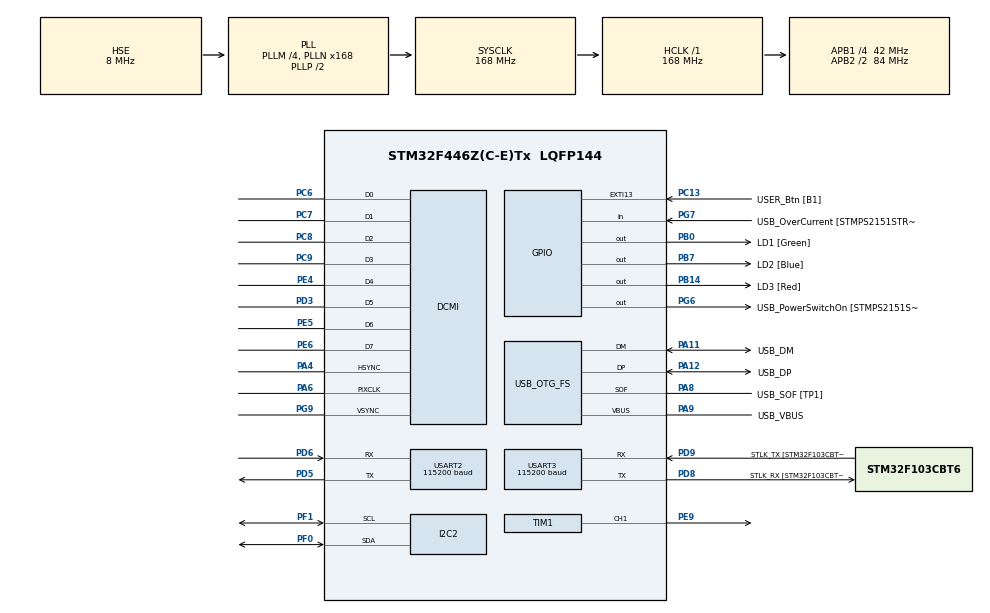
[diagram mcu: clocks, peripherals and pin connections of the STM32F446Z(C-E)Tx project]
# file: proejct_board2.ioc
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DCMI.CaptureRate=DCMI_CR_ALL_FRAME
DCMI.PCKPolarity=DCMI_PCKPOLARITY_RISING
DCMI.VSPolarity=DCMI_VSPOLARITY_HIGH
Dma.DCMI.0.Direction=DMA_PERIPH_TO_MEMORY
Dma.DCMI.0.FIFOMode=DMA_FIFOMODE_ENABLE
Dma.DCMI.0.FIFOThreshold=DMA_FIFO_THRESHOLD_FULL
Dma.DCMI.0.Instance=DMA2_Stream1
Dma.DCMI.0.MemBurst=DMA_MBURST_SINGLE
Dma.DCMI.0.MemDataAlignment=DMA_MDATAALIGN_WORD
Dma.DCMI.0.MemInc=DMA_MINC_ENABLE
Dma.DCMI.0.Mode=DMA_CIRCULAR
Dma.DCMI.0.PeriphBurst=DMA_PBURST_SINGLE
Dma.DCMI.0.PeriphDataAlignment=DMA_PDATAALIGN_WORD
Dma.DCMI.0.PeriphInc=DMA_PINC_DISABLE
Dma.DCMI.0.Priority=DMA_PRIORITY_VERY_HIGH
Dma.Request0=DCMI
Dma.Request1=USART3_TX
Dma.Request2=USART2_TX
Dma.USART2_TX.2.Direction=DMA_MEMORY_TO_PERIPH
Dma.USART2_TX.2.FIFOMode=DMA_FIFOMODE_DISABLE
Dma.USART2_TX.2.Instance=DMA1_Stream6
Dma.USART2_TX.2.MemDataAlignment=DMA_MDATAALIGN_BYTE
Dma.USART2_TX.2.MemInc=DMA_MINC_ENABLE
Dma.USART2_TX.2.Mode=DMA_NORMAL
Dma.USART2_TX.2.PeriphDataAlignment=DMA_PDATAALIGN_BYTE
Dma.USART2_TX.2.PeriphInc=DMA_PINC_DISABLE
Dma.USART2_TX.2.Priority=DMA_PRIORITY_VERY_HIGH
Dma.USART3_TX.1.Direction=DMA_MEMORY_TO_PERIPH
Dma.USART3_TX.1.FIFOMode=DMA_FIFOMODE_ENABLE
Dma.USART3_TX.1.FIFOThreshold=DMA_FIFO_THRESHOLD_FULL
Dma.USART3_TX.1.Instance=DMA1_Stream3
Dma.USART3_TX.1.MemBurst=DMA_MBURST_SINGLE
Dma.USART3_TX.1.MemDataAlignment=DMA_MDATAALIGN_BYTE
Dma.USART3_TX.1.MemInc=DMA_MINC_ENABLE
Dma.USART3_TX.1.Mode=DMA_NORMAL
Dma.USART3_TX.1.PeriphBurst=DMA_PBURST_SINGLE
Dma.USART3_TX.1.PeriphDataAlignment=DMA_PDATAALIGN_BYTE
Dma.USART3_TX.1.PeriphInc=DMA_PINC_DISABLE
Dma.USART3_TX.1.Priority=DMA_PRIORITY_MEDIUM
Mcu.Family=STM32F4
Mcu.Name=STM32F446Z(C-E)Tx
Mcu.Package=LQFP144
NVIC.DCMI_IRQn=true\:0\:0\:false\:false\:true\:true\:true\:true
NVIC.DMA1_Stream3_IRQn=true\:0\:0\:false\:false\:true\:false\:true\:true
NVIC.DMA1_Stream6_IRQn=true\:0\:0\:false\:false\:true\:false\:true\:true
NVIC.DMA2_Stream1_IRQn=true\:0\:0\:false\:false\:true\:false\:true\:true
NVIC.EXTI15_10_IRQn=true\:0\:0\:false\:false\:true\:true\:true\:true
NVIC.PriorityGroup=NVIC_PRIORITYGROUP_4
NVIC.TIM6_DAC_IRQn=true\:0\:0\:false\:false\:true\:true\:true\:true
NVIC.USART3_IRQn=true\:0\:0\:false\:false\:true\:true\:true\:true
PA10.GPIO_Label=USB_ID
PA10.Signal=USB_OTG_FS_ID
PA11.GPIO_Label=USB_DM
PA11.Mode=Device_Only
PA11.Signal=USB_OTG_FS_DM
PA12.GPIO_Label=USB_DP
PA12.Mode=Device_Only
PA12.Signal=USB_OTG_FS_DP
PA13.GPIO_Label=TMS
PA13.Mode=Serial_Wire
PA13.Signal=SYS_JTMS-SWDIO
PA14.GPIO_Label=TCK
PA14.Mode=Serial_Wire
PA14.Signal=SYS_JTCK-SWCLK
PA4.Mode=Slave_8_bits_External_Synchro
PA4.Signal=DCMI_HSYNC
PA6.Mode=Slave_8_bits_External_Synchro
PA6.Signal=DCMI_PIXCLK
PA8.GPIO_Label=USB_SOF [TP1]
PA8.Mode=Activate_SOF_FS
PA8.Signal=USB_OTG_FS_SOF
PA9.GPIO_Label=USB_VBUS
PA9.Mode=Activate_VBUS
PA9.Signal=USB_OTG_FS_VBUS
PB0.GPIO_Label=LD1 [Green]
PB0.Signal=GPIO_Output
PB14.GPIO_Label=LD3 [Red]
PB14.Signal=GPIO_Output
PB7.GPIO_Label=LD2 [Blue]
PB7.Signal=GPIO_Output
PC13.GPIO_Label=USER_Btn [B1]
PC13.Signal=GPXTI13
PC14-OSC32_IN.Mode=LSE-External-Oscillator
PC14-OSC32_IN.Signal=RCC_OSC32_IN
PC15-OSC32_OUT.Mode=LSE-External-Oscillator
PC15-OSC32_OUT.Signal=RCC_OSC32_OUT
PC6.Mode=Slave_8_bits_External_Synchro
PC6.Signal=DCMI_D0
PC7.Mode=Slave_8_bits_External_Synchro
PC7.Signal=DCMI_D1
PC8.Mode=Slave_8_bits_External_Synchro
PC8.Signal=DCMI_D2
PC9.Mode=Slave_8_bits_External_Synchro
PC9.Signal=DCMI_D3
PD3.Mode=Slave_8_bits_External_Synchro
PD3.Signal=DCMI_D5
PD5.Mode=Asynchronous
PD5.Signal=USART2_TX
PD6.Mode=Asynchronous
PD6.Signal=USART2_RX
PD8.GPIO_Label=STLK_RX [STM32F103CBT6_PA3]
PD8.Mode=Asynchronous
PD8.Signal=USART3_TX
PD9.GPIO_Label=STLK_TX [STM32F103CBT6_PA2]
PD9.Mode=Asynchronous
PD9.Signal=USART3_RX
PE4.Mode=Slave_8_bits_External_Synchro
PE4.Signal=DCMI_D4
PE5.Mode=Slave_8_bits_External_Synchro
PE5.Signal=DCMI_D6
PE6.Mode=Slave_8_bits_External_Synchro
PE6.Signal=DCMI_D7
PE9.Signal=S_TIM1_CH1
PF0.Mode=I2C
PF0.Signal=I2C2_SDA
PF1.Mode=I2C
PF1.Signal=I2C2_SCL
PG6.GPIO_Label=USB_PowerSwitchOn [STMPS2151STR_EN]
PG6.Signal=GPIO_Output
PG7.GPIO_Label=USB_OverCurrent [STMPS2151STR_FAULT]
PG7.Signal=GPIO_Input
PG9.Mode=Slave_8_bits_External_Synchro
PG9.Signal=DCMI_VSYNC
PH0-OSC_IN.GPIO_Label=MCO [STM32F103CBT6_PA8]
PH0-OSC_IN.Mode=HSE-External-Clock-Source
PH0-OSC_IN.Signal=RCC_OSC_IN
PH1-OSC_OUT.Mode=HSE-External-Clock-Source
PH1-OSC_OUT.Signal=RCC_OSC_OUT
ProjectManager.HeapSize=0x200
ProjectManager.StackSize=0x400
ProjectManager.TargetToolchain=STM32CubeIDE
RCC.48MHZClocksFreq_Value=24000000
RCC.AHBFreq_Value=168000000
RCC.APB1CLKDivider=RCC_HCLK_DIV4
RCC.APB1Freq_Value=42000000
RCC.APB1TimFreq_Value=84000000
RCC.APB2CLKDivider=RCC_HCLK_DIV2
RCC.APB2Freq_Value=84000000
RCC.APB2TimFreq_Value=168000000
RCC.CortexFreq_Value=168000000
RCC.HCLKFreq_Value=168000000
RCC.HSE_VALUE=8000000
RCC.HSI_VALUE=16000000
RCC.PLLM=4
RCC.PLLMUL=RCC_PLL_MUL9
RCC.PLLN=168
RCC.PLLQ=7
RCC.PRESCALERUSB=RCC_USBCLKSOURCE_PLL_DIV1_5
RCC.SYSCLKFreq_VALUE=168000000
RCC.SYSCLKSource=RCC_SYSCLKSOURCE_PLLCLK
RCC.SYSCLKSourceVirtual=RCC_SYSCLKSOURCE_PLLCLK
RCC.USBFreq_Value=48000000
RCC.VCOOutputFreq_Value=336000000
SH.S_TIM1_CH1.0=TIM1_CH1,PWM Generation1 CH1
TIM1.AutoReloadPreload=TIM_AUTORELOAD_PRELOAD_ENABLE
TIM1.Channel-PWM\ Generation1\ CH1=TIM_CHANNEL_1
TIM1.Period=20
TIM1.Pulse-PWM\ Generation1\ CH1=10
USART2.BaudRate=115200
USART2.VirtualMode=VM_ASYNC
USART3.BaudRate=115200
USART3.Mode=MODE_TX_RX
USART3.VirtualMode=VM_ASYNC
USB_OTG_FS.VirtualMode=Device_Only
VP_TIM6_VS_ClockSourceINT.Mode=Enable_Timer
board=NUCLEO-F446ZE

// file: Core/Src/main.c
/* USER CODE BEGIN Header */
/**
  ******************************************************************************
  * @file           : main.c
  * @brief          : Main program body
  ******************************************************************************
  * @attention
  *
  * Copyright (c) 2024 STMicroelectronics.
  * All rights reserved.
  *
  * This software is licensed under terms that can be found in the LICENSE file
  * in the root directory of this software component.
  * If no LICENSE file comes with this software, it is provided AS-IS.
  *
  ******************************************************************************
  */
/* USER CODE END Header */
#include "main.h"

/* USER CODE BEGIN Includes */
#include "ov7670.h"
/* USER CODE END Includes */

/* USER CODE BEGIN PD */
#define PREAMBLE "\r\n!START!\r\n"
#define DELTA_PREAMBLE "\r\n!DELTA!\r\n"
#define SUFFIX "!END!\r\n"
/* USER CODE END PD */

DCMI_HandleTypeDef hdcmi;
DMA_HandleTypeDef hdma_dcmi;

I2C_HandleTypeDef hi2c2;

TIM_HandleTypeDef htim1;
TIM_HandleTypeDef htim6;

UART_HandleTypeDef huart2;
UART_HandleTypeDef huart3;
DMA_HandleTypeDef hdma_usart2_tx;
DMA_HandleTypeDef hdma_usart3_tx;

PCD_HandleTypeDef hpcd_USB_OTG_FS;

/* USER CODE BEGIN PV */
uint8_t raw_buff[2 * IMG_ROWS * IMG_COLS];
uint8_t intermediate_buff[IMG_ROWS][IMG_COLS];
uint8_t previous_buff[IMG_ROWS][IMG_COLS];
uint8_t video_buff[sizeof(PREAMBLE) + IMG_ROWS * IMG_COLS + sizeof(SUFFIX)];

uint8_t dma_flag = 0;
uint8_t button_flag = 0;
uint8_t transfer_complete_flag = 0;
/* USER CODE END PV */

void SystemClock_Config(void);
static void MX_GPIO_Init(void);
static void MX_DMA_Init(void);
static void MX_DCMI_Init(void);
static void MX_USART3_UART_Init(void);
static void MX_USB_OTG_FS_PCD_Init(void);
static void MX_I2C2_Init(void);
static void MX_TIM1_Init(void);
static void MX_TIM6_Init(void);
static void MX_USART2_UART_Init(void);
/* USER CODE BEGIN PFP */
void extraTruncatedVideoMode();

uint8_t findNumberOfRepeatedPixels(uint8_t startRow, uint8_t startCol);
void transferRawBufferToIntermediate();
int rle(int bufferIndex);
/* USER CODE END PFP */

int main(void)
{

  /* MCU Configuration--------------------------------------------------------*/

  /* Reset of all peripherals, Initializes the Flash interface and the Systick. */
  HAL_Init();

  /* Configure the system clock */
  SystemClock_Config();

  /* Initialize all configured peripherals */
  MX_GPIO_Init();
  MX_DMA_Init();
  MX_DCMI_Init();
  MX_USART3_UART_Init();
  MX_USB_OTG_FS_PCD_Init();
  MX_I2C2_Init();
  MX_TIM1_Init();
  MX_TIM6_Init();
  MX_USART2_UART_Init();
  /* USER CODE BEGIN 2 */
  HAL_TIM_PWM_Start(&htim1, TIM_CHANNEL_1);
  ov7670_init();

  extraTruncatedVideoMode();
  /* USER CODE END 2 */

  /* Infinite loop */
  while (1)
  {

  }
}

void SystemClock_Config(void)
{
  RCC_OscInitTypeDef RCC_OscInitStruct = {0};
  RCC_ClkInitTypeDef RCC_ClkInitStruct = {0};

  /** Configure the main internal regulator output voltage
  */
  __HAL_RCC_PWR_CLK_ENABLE();
  __HAL_PWR_VOLTAGESCALING_CONFIG(PWR_REGULATOR_VOLTAGE_SCALE1);

  /** Initializes the RCC Oscillators according to the specified parameters
  * in the RCC_OscInitTypeDef structure.
  */
  RCC_OscInitStruct.OscillatorType = RCC_OSCILLATORTYPE_HSE;
  RCC_OscInitStruct.HSEState = RCC_HSE_BYPASS;
  RCC_OscInitStruct.PLL.PLLState = RCC_PLL_ON;
  RCC_OscInitStruct.PLL.PLLSource = RCC_PLLSOURCE_HSE;
  RCC_OscInitStruct.PLL.PLLM = 4;
  RCC_OscInitStruct.PLL.PLLN = 168;
  RCC_OscInitStruct.PLL.PLLP = RCC_PLLP_DIV2;
  RCC_OscInitStruct.PLL.PLLQ = 7;
  RCC_OscInitStruct.PLL.PLLR = 2;
  if (HAL_RCC_OscConfig(&RCC_OscInitStruct) != HAL_OK)
  {
    Error_Handler();
  }

  /** Initializes the CPU, AHB and APB buses clocks
  */
  RCC_ClkInitStruct.ClockType = RCC_CLOCKTYPE_HCLK|RCC_CLOCKTYPE_SYSCLK
                              |RCC_CLOCKTYPE_PCLK1|RCC_CLOCKTYPE_PCLK2;
  RCC_ClkInitStruct.SYSCLKSource = RCC_SYSCLKSOURCE_PLLCLK;
  RCC_ClkInitStruct.AHBCLKDivider = RCC_SYSCLK_DIV1;
  RCC_ClkInitStruct.APB1CLKDivider = RCC_HCLK_DIV4;
  RCC_ClkInitStruct.APB2CLKDivider = RCC_HCLK_DIV2;

  if (HAL_RCC_ClockConfig(&RCC_ClkInitStruct, FLASH_LATENCY_5) != HAL_OK)
  {
    Error_Handler();
  }
}

static void MX_DCMI_Init(void)
{

  hdcmi.Instance = DCMI;
  hdcmi.Init.SynchroMode = DCMI_SYNCHRO_HARDWARE;
  hdcmi.Init.PCKPolarity = DCMI_PCKPOLARITY_RISING;
  hdcmi.Init.VSPolarity = DCMI_VSPOLARITY_HIGH;
  hdcmi.Init.HSPolarity = DCMI_HSPOLARITY_LOW;
  hdcmi.Init.CaptureRate = DCMI_CR_ALL_FRAME;
  hdcmi.Init.ExtendedDataMode = DCMI_EXTEND_DATA_8B;
  hdcmi.Init.JPEGMode = DCMI_JPEG_DISABLE;
  hdcmi.Init.ByteSelectMode = DCMI_BSM_ALL;
  hdcmi.Init.ByteSelectStart = DCMI_OEBS_ODD;
  hdcmi.Init.LineSelectMode = DCMI_LSM_ALL;
  hdcmi.Init.LineSelectStart = DCMI_OELS_ODD;
  if (HAL_DCMI_Init(&hdcmi) != HAL_OK)
  {
    Error_Handler();
  }

}

static void MX_I2C2_Init(void)
{

  hi2c2.Instance = I2C2;
  hi2c2.Init.ClockSpeed = 100000;
  hi2c2.Init.DutyCycle = I2C_DUTYCYCLE_2;
  hi2c2.Init.OwnAddress1 = 0;
  hi2c2.Init.AddressingMode = I2C_ADDRESSINGMODE_7BIT;
  hi2c2.Init.DualAddressMode = I2C_DUALADDRESS_DISABLE;
  hi2c2.Init.OwnAddress2 = 0;
  hi2c2.Init.GeneralCallMode = I2C_GENERALCALL_DISABLE;
  hi2c2.Init.NoStretchMode = I2C_NOSTRETCH_DISABLE;
  if (HAL_I2C_Init(&hi2c2) != HAL_OK)
  {
    Error_Handler();
  }

}

static void MX_TIM1_Init(void)
{

  TIM_MasterConfigTypeDef sMasterConfig = {0};
  TIM_OC_InitTypeDef sConfigOC = {0};
  TIM_BreakDeadTimeConfigTypeDef sBreakDeadTimeConfig = {0};

  htim1.Instance = TIM1;
  htim1.Init.Prescaler = 0;
  htim1.Init.CounterMode = TIM_COUNTERMODE_UP;
  htim1.Init.Period = 20;
  htim1.Init.ClockDivision = TIM_CLOCKDIVISION_DIV1;
  htim1.Init.RepetitionCounter = 0;
  htim1.Init.AutoReloadPreload = TIM_AUTORELOAD_PRELOAD_ENABLE;
  if (HAL_TIM_PWM_Init(&htim1) != HAL_OK)
  {
    Error_Handler();
  }
  sMasterConfig.MasterOutputTrigger = TIM_TRGO_RESET;
  sMasterConfig.MasterSlaveMode = TIM_MASTERSLAVEMODE_DISABLE;
  if (HAL_TIMEx_MasterConfigSynchronization(&htim1, &sMasterConfig) != HAL_OK)
  {
    Error_Handler();
  }
  sConfigOC.OCMode = TIM_OCMODE_PWM1;
  sConfigOC.Pulse = 10;
  sConfigOC.OCPolarity = TIM_OCPOLARITY_HIGH;
  sConfigOC.OCNPolarity = TIM_OCNPOLARITY_HIGH;
  sConfigOC.OCFastMode = TIM_OCFAST_DISABLE;
  sConfigOC.OCIdleState = TIM_OCIDLESTATE_RESET;
  sConfigOC.OCNIdleState = TIM_OCNIDLESTATE_RESET;
  if (HAL_TIM_PWM_ConfigChannel(&htim1, &sConfigOC, TIM_CHANNEL_1) != HAL_OK)
  {
    Error_Handler();
  }
  sBreakDeadTimeConfig.OffStateRunMode = TIM_OSSR_DISABLE;
  sBreakDeadTimeConfig.OffStateIDLEMode = TIM_OSSI_DISABLE;
  sBreakDeadTimeConfig.LockLevel = TIM_LOCKLEVEL_OFF;
  sBreakDeadTimeConfig.DeadTime = 0;
  sBreakDeadTimeConfig.BreakState = TIM_BREAK_DISABLE;
  sBreakDeadTimeConfig.BreakPolarity = TIM_BREAKPOLARITY_HIGH;
  sBreakDeadTimeConfig.AutomaticOutput = TIM_AUTOMATICOUTPUT_DISABLE;
  if (HAL_TIMEx_ConfigBreakDeadTime(&htim1, &sBreakDeadTimeConfig) != HAL_OK)
  {
    Error_Handler();
  }
  HAL_TIM_MspPostInit(&htim1);

}

static void MX_TIM6_Init(void)
{

  TIM_MasterConfigTypeDef sMasterConfig = {0};

  htim6.Instance = TIM6;
  htim6.Init.Prescaler = 0;
  htim6.Init.CounterMode = TIM_COUNTERMODE_UP;
  htim6.Init.Period = 65535;
  htim6.Init.AutoReloadPreload = TIM_AUTORELOAD_PRELOAD_DISABLE;
  if (HAL_TIM_Base_Init(&htim6) != HAL_OK)
  {
    Error_Handler();
  }
  sMasterConfig.MasterOutputTrigger = TIM_TRGO_RESET;
  sMasterConfig.MasterSlaveMode = TIM_MASTERSLAVEMODE_DISABLE;
  if (HAL_TIMEx_MasterConfigSynchronization(&htim6, &sMasterConfig) != HAL_OK)
  {
    Error_Handler();
  }

}

static void MX_USART2_UART_Init(void)
{

  huart2.Instance = USART2;
  huart2.Init.BaudRate = 115200;
  huart2.Init.WordLength = UART_WORDLENGTH_8B;
  huart2.Init.StopBits = UART_STOPBITS_1;
  huart2.Init.Parity = UART_PARITY_NONE;
  huart2.Init.Mode = UART_MODE_TX_RX;
  huart2.Init.HwFlowCtl = UART_HWCONTROL_NONE;
  huart2.Init.OverSampling = UART_OVERSAMPLING_16;
  if (HAL_UART_Init(&huart2) != HAL_OK)
  {
    Error_Handler();
  }

}

static void MX_USART3_UART_Init(void)
{

  huart3.Instance = USART3;
  huart3.Init.BaudRate = 115200;
  huart3.Init.WordLength = UART_WORDLENGTH_8B;
  huart3.Init.StopBits = UART_STOPBITS_1;
  huart3.Init.Parity = UART_PARITY_NONE;
  huart3.Init.Mode = UART_MODE_TX_RX;
  huart3.Init.HwFlowCtl = UART_HWCONTROL_NONE;
  huart3.Init.OverSampling = UART_OVERSAMPLING_16;
  if (HAL_UART_Init(&huart3) != HAL_OK)
  {
    Error_Handler();
  }

}

static void MX_USB_OTG_FS_PCD_Init(void)
{

  hpcd_USB_OTG_FS.Instance = USB_OTG_FS;
  hpcd_USB_OTG_FS.Init.dev_endpoints = 6;
  hpcd_USB_OTG_FS.Init.speed = PCD_SPEED_FULL;
  hpcd_USB_OTG_FS.Init.dma_enable = DISABLE;
  hpcd_USB_OTG_FS.Init.phy_itface = PCD_PHY_EMBEDDED;
  hpcd_USB_OTG_FS.Init.Sof_enable = ENABLE;
  hpcd_USB_OTG_FS.Init.low_power_enable = DISABLE;
  hpcd_USB_OTG_FS.Init.lpm_enable = DISABLE;
  hpcd_USB_OTG_FS.Init.vbus_sensing_enable = ENABLE;
  hpcd_USB_OTG_FS.Init.use_dedicated_ep1 = DISABLE;
  if (HAL_PCD_Init(&hpcd_USB_OTG_FS) != HAL_OK)
  {
    Error_Handler();
  }

}

static void MX_DMA_Init(void)
{

  /* DMA controller clock enable */
  __HAL_RCC_DMA2_CLK_ENABLE();
  __HAL_RCC_DMA1_CLK_ENABLE();

  /* DMA interrupt init */
  /* DMA1_Stream3_IRQn interrupt configuration */
  HAL_NVIC_SetPriority(DMA1_Stream3_IRQn, 0, 0);
  HAL_NVIC_EnableIRQ(DMA1_Stream3_IRQn);
  /* DMA1_Stream6_IRQn interrupt configuration */
  HAL_NVIC_SetPriority(DMA1_Stream6_IRQn, 0, 0);
  HAL_NVIC_EnableIRQ(DMA1_Stream6_IRQn);
  /* DMA2_Stream1_IRQn interrupt configuration */
  HAL_NVIC_SetPriority(DMA2_Stream1_IRQn, 0, 0);
  HAL_NVIC_EnableIRQ(DMA2_Stream1_IRQn);

}

static void MX_GPIO_Init(void)
{
  GPIO_InitTypeDef GPIO_InitStruct = {0};

  /* GPIO Ports Clock Enable */
  __HAL_RCC_GPIOE_CLK_ENABLE();
  __HAL_RCC_GPIOC_CLK_ENABLE();
  __HAL_RCC_GPIOF_CLK_ENABLE();
  __HAL_RCC_GPIOH_CLK_ENABLE();
  __HAL_RCC_GPIOA_CLK_ENABLE();
  __HAL_RCC_GPIOB_CLK_ENABLE();
  __HAL_RCC_GPIOD_CLK_ENABLE();
  __HAL_RCC_GPIOG_CLK_ENABLE();

  /*Configure GPIO pin Output Level */
  HAL_GPIO_WritePin(GPIOB, LD1_Pin|LD3_Pin|LD2_Pin, GPIO_PIN_RESET);

  /*Configure GPIO pin Output Level */
  HAL_GPIO_WritePin(USB_PowerSwitchOn_GPIO_Port, USB_PowerSwitchOn_Pin, GPIO_PIN_RESET);

  /*Configure GPIO pin : USER_Btn_Pin */
  GPIO_InitStruct.Pin = USER_Btn_Pin;
  GPIO_InitStruct.Mode = GPIO_MODE_IT_RISING;
  GPIO_InitStruct.Pull = GPIO_NOPULL;
  HAL_GPIO_Init(USER_Btn_GPIO_Port, &GPIO_InitStruct);

  /*Configure GPIO pins : LD1_Pin LD3_Pin LD2_Pin */
  GPIO_InitStruct.Pin = LD1_Pin|LD3_Pin|LD2_Pin;
  GPIO_InitStruct.Mode = GPIO_MODE_OUTPUT_PP;
  GPIO_InitStruct.Pull = GPIO_NOPULL;
  GPIO_InitStruct.Speed = GPIO_SPEED_FREQ_LOW;
  HAL_GPIO_Init(GPIOB, &GPIO_InitStruct);

  /*Configure GPIO pin : USB_PowerSwitchOn_Pin */
  GPIO_InitStruct.Pin = USB_PowerSwitchOn_Pin;
  GPIO_InitStruct.Mode = GPIO_MODE_OUTPUT_PP;
  GPIO_InitStruct.Pull = GPIO_NOPULL;
  GPIO_InitStruct.Speed = GPIO_SPEED_FREQ_LOW;
  HAL_GPIO_Init(USB_PowerSwitchOn_GPIO_Port, &GPIO_InitStruct);

  /*Configure GPIO pin : USB_OverCurrent_Pin */
  GPIO_InitStruct.Pin = USB_OverCurrent_Pin;
  GPIO_InitStruct.Mode = GPIO_MODE_INPUT;
  GPIO_InitStruct.Pull = GPIO_NOPULL;
  HAL_GPIO_Init(USB_OverCurrent_GPIO_Port, &GPIO_InitStruct);

  /* EXTI interrupt init*/
  HAL_NVIC_SetPriority(EXTI15_10_IRQn, 0, 0);
  HAL_NVIC_EnableIRQ(EXTI15_10_IRQn);

}

/* USER CODE BEGIN 4 */
void extraTruncatedVideoMode() {
	int bufferIndex= 0;
	for (int index = 0; index < sizeof(PREAMBLE); index++) {
		video_buff[bufferIndex++] = PREAMBLE[index];
	}

	//Loop forever
	while(1) {
		//Reset
		dma_flag = 0;
		transfer_complete_flag = 0;

		ov7670_capture(raw_buff);

		//Wait for capture to finish
		while (!dma_flag) {
			HAL_Delay(0);
		}

		//Extract grey scale
		transferRawBufferToIntermediate();

		//RLE and place between pre-amble and suffix
		bufferIndex = rle(sizeof(PREAMBLE));

		//Append suffix
		for (int index = 0; index < sizeof(SUFFIX); index++) {
			video_buff[bufferIndex] = SUFFIX[index];
			bufferIndex++;
		}

		//Export Data
		if (HAL_UART_GetState(&huart2) == HAL_UART_STATE_READY) {
			if (HAL_UART_Transmit(&huart2, (uint8_t *)video_buff, bufferIndex,100) != HAL_OK) {
			}
		}

		//while (HAL_UART_GetState(&huart2) != HAL_UART_STATE_READY) {///WAIT until transfer complete to capture next image
		//	HAL_Delay(0);
		//}

	}

}

//Returns the number of pixels that are consecutive, beginning search at [startRow, startCol]
uint8_t findNumberOfRepeatedPixels(uint8_t startRow, uint8_t startCol) {
	uint8_t count = 0;
	uint8_t prevColour = intermediate_buff[startRow][startCol];
	for (int columnIndex = startCol; columnIndex < IMG_COLS && count < 15; columnIndex++) {
		if (intermediate_buff[startRow][columnIndex] == prevColour) {
			count++;
		} else {
			break;
		}
	}
	return count;
}

//Extracts grey-scale data from the raw buffer to the intermediate buffer and formats it in a 2D array
void transferRawBufferToIntermediate() {
	int rowIndex = 0;
	int colIndex = 0;
	for (int rawIndex = 1; rawIndex < 2*IMG_ROWS*IMG_COLS; rawIndex++) {
		if (rawIndex % 2 != 0) {
			intermediate_buff[rowIndex][colIndex++] = raw_buff[rawIndex] & 0xF0;
			if (colIndex == IMG_COLS) {
				rowIndex++;
				colIndex = 0;
			}
		}
	}
}

//Compresses contents of intermediate buff using RLE and places data in the output buffer beginning at bufferIndex
int rle(int bufferIndex) {
	for (int rowIndex = 0; rowIndex < IMG_ROWS; rowIndex++) {
		for (int colIndex = 0; colIndex < IMG_COLS;) {
			uint8_t repetitions = findNumberOfRepeatedPixels(rowIndex, colIndex);

			video_buff[bufferIndex++] = intermediate_buff[rowIndex][colIndex] | (repetitions & 0xF);

			colIndex += repetitions;
		}
	}
	return bufferIndex;
}

/* USER CODE END 4 */

void Error_Handler(void)
{
  __disable_irq();
  while (1)
  {
  }
}
